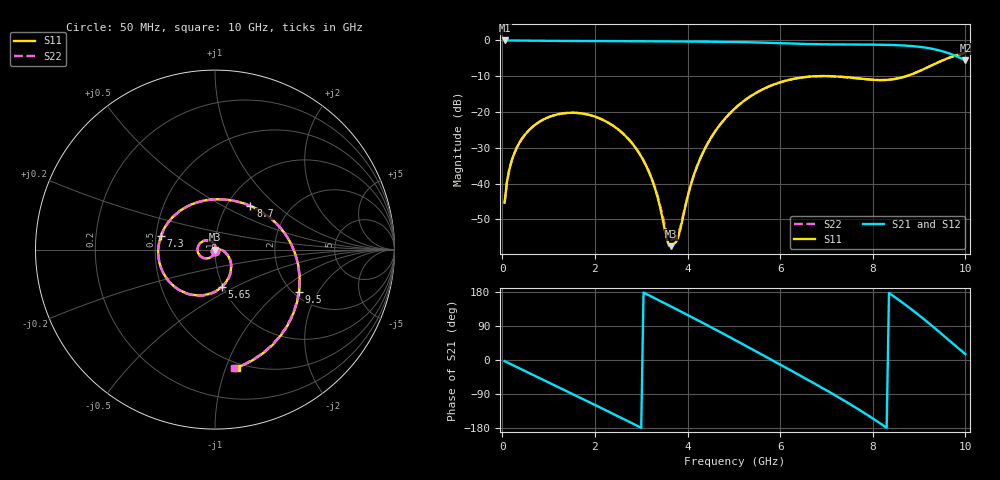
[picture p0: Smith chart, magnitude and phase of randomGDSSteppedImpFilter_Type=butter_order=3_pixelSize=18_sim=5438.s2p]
! freq	dB(S11)	phase(S11)	dB(S12)	phase(S12)
!  dB(S21)	phase(S21)	dB(S22)	phase(S22)
!S-par simulation data
#  GHz  S  DB  R 50
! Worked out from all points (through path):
!   200 points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, 50 MHz to 10 GHz, reference 50 ohm
!   highest |S21| = -0.01 dB at 50 MHz (marker M1); lowest = -5.6 dB at 10 GHz (marker M2)
!   group delay of S21, straight-line fit = 188 ps
!   lowest |S11| = -57.5 dB at 3.65 GHz (marker M3), VSWR 1.00, Z = 50.1 - j0.0722 ohm
!   |S11| at or under -10 dB: start of sweep to 6.782 GHz; 7.111 GHz to 8.721 GHz (1.61 GHz wide, 20.3 % of centre)
!   |S22| runs from -55.7 to -3.5 dB; largest |S21 - S12| = 0
!   S11 on the Smith chart (normalised r, x): 50 MHz: 1.00, -0.01; 5.65 GHz: 0.98, -0.43; 7.3 GHz: 0.53, +0.09; 8.7 GHz: 1.28, +0.69; 9.5 GHz: 2.15, -1.39; 10 GHz: 0.46, -1.09
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0.05  -45.37 -89.2  -0.01 -3.0  -0.01 -3.0  -45.40 -89.0
0.2  -33.75 -100.6  -0.02 -12.0  -0.02 -12.0  -33.75 -100.6
0.55  -25.44 -122.6  -0.06 -32.7  -0.06 -32.7  -25.44 -122.7
1.15  -20.81 -158.7  -0.12 -68.1  -0.12 -68.1  -20.80 -158.8
1.75  -20.48 165.7  -0.17 -103.6  -0.17 -103.6  -20.47 165.4
2.8  -28.72 102.3  -0.21 -166.8  -0.21 -166.8  -28.68 101.1
3.15  -36.27 79.1  -0.24 171.8  -0.24 171.8  -36.16 76.8
3.4  -46.22 55.1  -0.26 156.4  -0.26 156.4  -45.75 50.0
3.65  -57.52 -32.8  -0.28 140.9  -0.28 140.9  -55.68 -28.2
3.8  -54.94 -22.4  -0.29 131.5  -0.29 131.5  -54.05 -19.7
4.3  -32.30 3.5  -0.33 99.9  -0.33 99.9  -32.27 5.0
5.05  -18.70 -40.9  -0.43 51.2  -0.43 51.2  -18.69 -39.7
5.65  -13.50 -80.1  -0.62 11.3  -0.62 11.3  -13.50 -78.9
6.15  -11.16 -113.4  -0.83 -22.1  -0.83 -22.1  -11.16 -112.2
6.7  -10.06 -150.9  -1.03 -59.3  -1.03 -59.3  -10.06 -149.5
7.3  -10.14 166.2  -1.12 -101.3  -1.12 -101.3  -10.15 167.9
7.9  -10.91 119.6  -1.16 -146.3  -1.16 -146.3  -10.92 121.4
8.35  -10.98 81.8  -1.25 176.9  -1.25 176.9  -11.00 83.4
8.7  -10.09 50.9  -1.44 146.1  -1.44 146.1  -10.10 51.9
9.1  -8.02 13.6  -1.94 108.2  -1.94 108.2  -8.03 13.8
9.5  -5.62 -26.6  -3.01 67.4  -3.01 67.4  -5.62 -27.1
10  -3.48 -79.7  -5.58 15.6  -5.58 15.6  -3.49 -80.7
